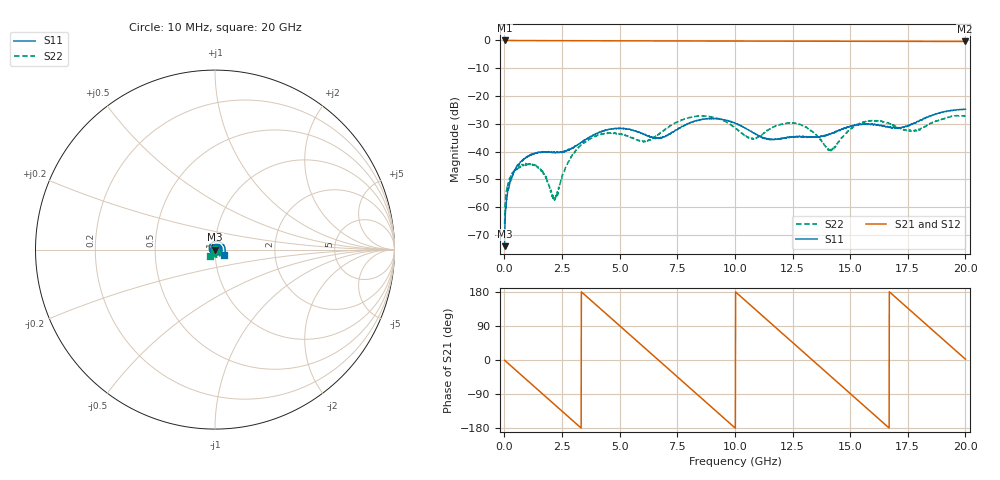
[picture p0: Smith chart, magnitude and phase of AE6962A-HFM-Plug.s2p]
! 02K1AM-S00S3 (404161)
! Rosenberger Hochfrequenztechnik GmbH & Co. KG
! Hauptstr. 1, D-83413 Fridolfing, Germany
! Port 1  ----|  RPC2.92  |  HFM  |---- Port 2
# HZ S DB R 50
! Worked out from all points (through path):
!   2000 points, 10 MHz to 20 GHz, reference 50 ohm
!   highest |S21| = 0.00 dB at 10 MHz (marker M1); lowest = -0.4 dB at 19.97 GHz (marker M2)
!   group delay of S21, straight-line fit = 150 ps
!   lowest |S11| = -74.1 dB at 10 MHz (marker M3), VSWR 1.00, Z = 50 + j0.0168 ohm
!   |S11| at or under -10 dB: start of sweep to end of sweep
!   |S22| runs from -66.0 to -27.0 dB; largest |S21 - S12| = 0
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1e7  -74.05 57.6  -0.00 -0.6  -0.00 -0.6  -66.05 60.8
1.6e8  -53.90 60.6  -0.01 -8.7  -0.01 -8.7  -51.98 42.2
4.6e8  -46.63 50.1  -0.03 -25.0  -0.03 -25.0  -46.51 32.2
1.68e9  -40.20 -36.6  -0.07 -90.8  -0.07 -90.8  -47.66 -13.8
2.2e9  -40.38 -85.5  -0.08 -118.8  -0.08 -118.8  -57.69 44.4
3.35e9  -36.57 146.9  -0.11 179.3  -0.11 179.3  -37.48 63.2
4.28e9  -32.57 70.9  -0.12 129.2  -0.12 129.2  -33.63 22.9
5.01e9  -31.67 17.7  -0.14 89.9  -0.14 89.9  -33.78 -4.7
5.95e9  -33.44 -59.0  -0.15 39.3  -0.15 39.3  -36.25 -14.7
6.68e9  -35.09 -141.8  -0.16 -0.0  -0.16 -0.0  -33.88 -2.3
8.34e9  -28.86 53.4  -0.20 -89.4  -0.20 -89.4  -27.29 -52.8
1.001e10  -29.77 -71.0  -0.22 -179.4  -0.22 -179.4  -31.47 -110.8
1.074e10  -32.90 -138.2  -0.23 141.3  -0.23 141.3  -35.16 -96.9
1.168e10  -35.71 107.2  -0.24 90.6  -0.24 90.6  -31.17 -83.5
1.334e10  -34.79 -77.8  -0.27 1.1  -0.27 1.1  -32.72 -129.7
1.412e10  -33.72 -168.9  -0.28 -41.0  -0.28 -41.0  -39.40 -104.0
1.501e10  -30.84 99.2  -0.29 -88.9  -0.29 -88.9  -32.04 -73.1
1.667e10  -31.26 -56.7  -0.31 -178.4  -0.31 -178.4  -29.85 -117.2
1.74e10  -30.86 -143.8  -0.32 142.3  -0.32 142.3  -32.19 -114.2
1.833e10  -27.55 117.3  -0.34 92.1  -0.34 92.1  -30.38 -96.3
1.997e10  -24.80 -27.7  -0.37 3.8  -0.37 3.8  -27.21 -129.5
2e10  -24.75 -30.7  -0.37 2.2  -0.37 2.2  -27.21 -130.0
